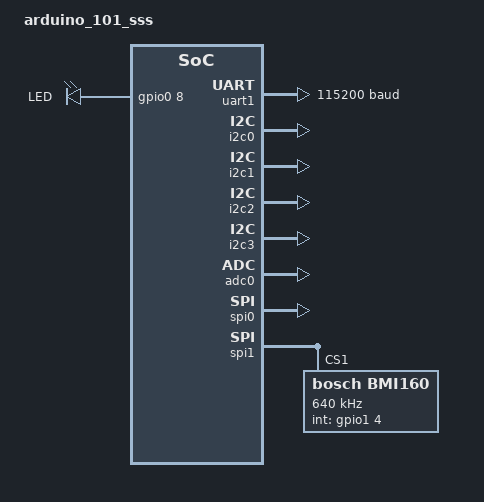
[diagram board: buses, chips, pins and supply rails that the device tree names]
/* SPDX-License-Identifier: Apache-2.0 */

/dts-v1/;

#include <mem.h>

#define DT_FLASH_SIZE		DT_SIZE_K(128)
#define DT_SRAM_SIZE		DT_SIZE_K(24)
#define DT_DCCM_SIZE		DT_SIZE_K(8)

#define DT_FLASH_ADDR		0x40034000

#include "quark_se_c1000_ss.dtsi"

/ {
	model = "arduino_101_sss";
	compatible = "intel,arduino_101_sss", "intel,quark_se_c1000";

	aliases {
		led0 = &led0;
		uart-0 = &uart0;
		uart-1 = &uart1;
	};

	chosen {
		zephyr,sram = &sram0;
		zephyr,flash = &flash0;
		zephyr,console = &uart1;
		zephyr,shell-uart = &uart1;
	};

	leds {
		compatible = "gpio-leds";
		led0: led_0 {
			gpios = <&gpio0 8 0>;
			label = "LED";
		};
	};
};

&uart1 {
	status = "ok";
	current-speed = <115200>;
};

&i2c0 {
	status = "ok";
};

&i2c1 {
	status = "ok";
};

&i2c2 {
	status = "ok";
};

&i2c3 {
	status = "ok";
};

&adc0 {
	status = "ok";
};

&spi0 {
	status = "ok";
};

&spi1 {
	status = "ok";

	bmi160@1 {
		compatible = "bosch,bmi160";
		reg = <0x1>;
		label = "bmi160";
		spi-max-frequency = <640000>;
		int-gpios = <&gpio1 4 0>;
		status = "ok";
	};
};
